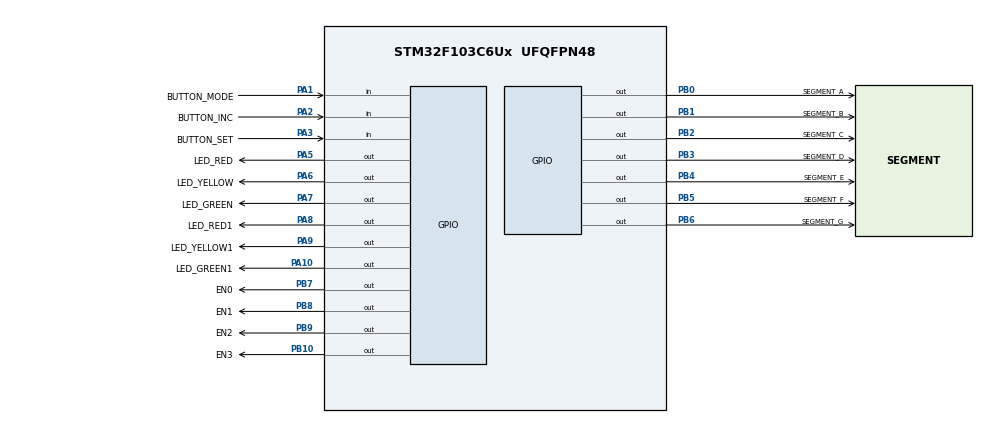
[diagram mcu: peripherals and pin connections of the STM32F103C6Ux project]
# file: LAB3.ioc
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Mcu.Family=STM32F1
Mcu.Name=STM32F103C6Ux
Mcu.Package=UFQFPN48
NVIC.PriorityGroup=NVIC_PRIORITYGROUP_4
NVIC.TIM2_IRQn=true\:0\:0\:false\:false\:true\:true\:true
PA1.GPIO_Label=BUTTON_MODE
PA1.Signal=GPIO_Input
PA10.GPIO_Label=LED_GREEN1
PA10.Signal=GPIO_Output
PA2.GPIO_Label=BUTTON_INC
PA2.Signal=GPIO_Input
PA3.GPIO_Label=BUTTON_SET
PA3.Signal=GPIO_Input
PA5.GPIO_Label=LED_RED
PA5.Signal=GPIO_Output
PA6.GPIO_Label=LED_YELLOW
PA6.Signal=GPIO_Output
PA7.GPIO_Label=LED_GREEN
PA7.Signal=GPIO_Output
PA8.GPIO_Label=LED_RED1
PA8.Signal=GPIO_Output
PA9.GPIO_Label=LED_YELLOW1
PA9.Signal=GPIO_Output
PB0.GPIO_Label=SEGMENT_A
PB0.Signal=GPIO_Output
PB1.GPIO_Label=SEGMENT_B
PB1.Signal=GPIO_Output
PB10.GPIO_Label=EN3
PB10.Signal=GPIO_Output
PB2.GPIO_Label=SEGMENT_C
PB2.Signal=GPIO_Output
PB3.GPIO_Label=SEGMENT_D
PB3.Signal=GPIO_Output
PB4.GPIO_Label=SEGMENT_E
PB4.Signal=GPIO_Output
PB5.GPIO_Label=SEGMENT_F
PB5.Signal=GPIO_Output
PB6.GPIO_Label=SEGMENT_G
PB6.Signal=GPIO_Output
PB7.GPIO_Label=EN0
PB7.Signal=GPIO_Output
PB8.GPIO_Label=EN1
PB8.Signal=GPIO_Output
PB9.GPIO_Label=EN2
PB9.Signal=GPIO_Output
ProjectManager.HeapSize=0x200
ProjectManager.StackSize=0x400
ProjectManager.TargetToolchain=STM32CubeIDE
RCC.APB1Freq_Value=8000000
RCC.APB2Freq_Value=8000000
TIM2.Period=99
TIM2.Prescaler=799
VP_SYS_VS_ND.Mode=No_Debug
VP_TIM2_VS_ClockSourceINT.Mode=Internal
board=custom

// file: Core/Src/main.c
/* USER CODE BEGIN Header */
/**
  ******************************************************************************
  * @file           : main.c
  * @brief          : Main program body
  ******************************************************************************
  * @attention
  *
  * <h2><center>&copy; Copyright (c) 2026 STMicroelectronics.
  * All rights reserved.</center></h2>
  *
  * This software component is licensed by ST under BSD 3-Clause license,
  * the "License"; You may not use this file except in compliance with the
  * License. You may obtain a copy of the License at:
  *                        opensource.org/licenses/BSD-3-Clause
  *
  ******************************************************************************
  */
/* USER CODE END Header */
#include "main.h"

/* USER CODE BEGIN Includes */
#include "input_reading.h"
#include "input_processing.h"
#include "led_display.h"
/* USER CODE END Includes */

/* USER CODE BEGIN PTD */
typedef enum
{
    BUTTON_RELEASED,
    BUTTON_PRESSED
} ButtonFSMState;
/* USER CODE END PTD */

/* USER CODE BEGIN PD */
// Timer interrupt period (ms)
#define TIMER_INTERRUPT_MS 10U

// LED blinking period: 500ms = 2Hz
#define LED_BLINK_PERIOD_MS 500U

// LED ON duration
#define LED_ON_MS 250U

// TIM2 Clock = 8MHz, Prescaler = 799
#define TIM2_TICKS_PER_MS 10U
/* USER CODE END PD */

TIM_HandleTypeDef htim2;

/* USER CODE BEGIN PV */
static volatile uint32_t elapsedMs = 0U;

/* USER CODE END PV */

void SystemClock_Config(void);
static void MX_GPIO_Init(void);
static void MX_TIM2_Init(void);

int main(void)
{

  /* MCU Configuration--------------------------------------------------------*/

  /* Reset of all peripherals, Initializes the Flash interface and the Systick. */
  HAL_Init();

  /* Configure the system clock */
  SystemClock_Config();

  /* Initialize all configured peripherals */
  MX_GPIO_Init();
  MX_TIM2_Init();
  /* USER CODE BEGIN 2 */

  // Turn off all 7-segment displays
  HAL_GPIO_WritePin(GPIOB,
                    EN0_Pin | EN1_Pin | EN2_Pin | EN3_Pin,
                    GPIO_PIN_SET);

  // Turn off all segments (Common Anode)
  HAL_GPIO_WritePin(GPIOB,
                    SEGMENT_A_Pin | SEGMENT_B_Pin |
                    SEGMENT_C_Pin | SEGMENT_D_Pin |
                    SEGMENT_E_Pin | SEGMENT_F_Pin |
                    SEGMENT_G_Pin,
                    GPIO_PIN_SET);

  // Reset elapsed time
  elapsedMs = 0U;

  // Configure TIM2 ARR
  __HAL_TIM_SET_AUTORELOAD(
      &htim2,
      TIMER_INTERRUPT_MS * TIM2_TICKS_PER_MS - 1U
  );

  // Reset TIM2 counter
  __HAL_TIM_SET_COUNTER(&htim2, 0U);

  // Clear pending interrupt flag
  __HAL_TIM_CLEAR_FLAG(&htim2, TIM_FLAG_UPDATE);

  // Start TIM2 interrupt
  if (HAL_TIM_Base_Start_IT(&htim2) != HAL_OK)
  {
      Error_Handler();
  }

  /* USER CODE END 2 */

  /* Infinite loop */
  /* USER CODE BEGIN WHILE */
  while (1)
  {
      // Process button FSM
      fsm_for_input_processing();

      uint8_t mode = get_current_mode();

      // Calculate blink state
      uint8_t blinkOn =
          (elapsedMs < LED_ON_MS) ? 1U : 0U;

      // Update traffic light FSM
      traffic_light_update(
          mode,
          blinkOn,
          get_active_red_duration(),
          get_active_yellow_duration(),
          get_active_green_duration()
      );

      // MODE 1: Display countdown for both roads
      if (mode == 1U)
      {
          sevenseg_scan_test(
              get_road1_remaining(),
              get_road2_remaining()
          );
      }
      else
      {
          uint8_t displayValue = 0U;

          // MODE 2: Red duration
          if (mode == 2U)
          {
              displayValue = get_red_editing();
          }

          // MODE 3: Yellow duration
          else if (mode == 3U)
          {
              displayValue = get_yellow_editing();
          }

          // MODE 4: Green duration
          else if (mode == 4U)
          {
              displayValue = get_green_editing();
          }

          sevenseg_scan_test(mode, displayValue);
      }

      __WFI();
  }
}

void SystemClock_Config(void)
{
  RCC_OscInitTypeDef RCC_OscInitStruct = {0};
  RCC_ClkInitTypeDef RCC_ClkInitStruct = {0};

  /** Initializes the RCC Oscillators according to the specified parameters
  * in the RCC_OscInitTypeDef structure.
  */
  RCC_OscInitStruct.OscillatorType = RCC_OSCILLATORTYPE_HSI;
  RCC_OscInitStruct.HSIState = RCC_HSI_ON;
  RCC_OscInitStruct.HSICalibrationValue = RCC_HSICALIBRATION_DEFAULT;
  RCC_OscInitStruct.PLL.PLLState = RCC_PLL_NONE;
  if (HAL_RCC_OscConfig(&RCC_OscInitStruct) != HAL_OK)
  {
    Error_Handler();
  }
  /** Initializes the CPU, AHB and APB buses clocks
  */
  RCC_ClkInitStruct.ClockType = RCC_CLOCKTYPE_HCLK|RCC_CLOCKTYPE_SYSCLK
                              |RCC_CLOCKTYPE_PCLK1|RCC_CLOCKTYPE_PCLK2;
  RCC_ClkInitStruct.SYSCLKSource = RCC_SYSCLKSOURCE_HSI;
  RCC_ClkInitStruct.AHBCLKDivider = RCC_SYSCLK_DIV1;
  RCC_ClkInitStruct.APB1CLKDivider = RCC_HCLK_DIV1;
  RCC_ClkInitStruct.APB2CLKDivider = RCC_HCLK_DIV1;

  if (HAL_RCC_ClockConfig(&RCC_ClkInitStruct, FLASH_LATENCY_0) != HAL_OK)
  {
    Error_Handler();
  }
}

static void MX_TIM2_Init(void)
{

  TIM_ClockConfigTypeDef sClockSourceConfig = {0};
  TIM_MasterConfigTypeDef sMasterConfig = {0};

  htim2.Instance = TIM2;
  htim2.Init.Prescaler = 799;
  htim2.Init.CounterMode = TIM_COUNTERMODE_UP;
  htim2.Init.Period = 99;
  htim2.Init.ClockDivision = TIM_CLOCKDIVISION_DIV1;
  htim2.Init.AutoReloadPreload = TIM_AUTORELOAD_PRELOAD_DISABLE;
  if (HAL_TIM_Base_Init(&htim2) != HAL_OK)
  {
    Error_Handler();
  }
  sClockSourceConfig.ClockSource = TIM_CLOCKSOURCE_INTERNAL;
  if (HAL_TIM_ConfigClockSource(&htim2, &sClockSourceConfig) != HAL_OK)
  {
    Error_Handler();
  }
  sMasterConfig.MasterOutputTrigger = TIM_TRGO_RESET;
  sMasterConfig.MasterSlaveMode = TIM_MASTERSLAVEMODE_DISABLE;
  if (HAL_TIMEx_MasterConfigSynchronization(&htim2, &sMasterConfig) != HAL_OK)
  {
    Error_Handler();
  }

}

static void MX_GPIO_Init(void)
{
  GPIO_InitTypeDef GPIO_InitStruct = {0};

  /* GPIO Ports Clock Enable */
  __HAL_RCC_GPIOA_CLK_ENABLE();
  __HAL_RCC_GPIOB_CLK_ENABLE();

  /*Configure GPIO pin Output Level */
  HAL_GPIO_WritePin(GPIOA, LED_RED_Pin|LED_YELLOW_Pin|LED_GREEN_Pin|LED_RED1_Pin
                          |LED_YELLOW1_Pin|LED_GREEN1_Pin, GPIO_PIN_RESET);

  /*Configure GPIO pin Output Level */
  HAL_GPIO_WritePin(GPIOB, SEGMENT_A_Pin|SEGMENT_B_Pin|SEGMENT_C_Pin|EN3_Pin
                          |SEGMENT_D_Pin|SEGMENT_E_Pin|SEGMENT_F_Pin|SEGMENT_G_Pin
                          |EN0_Pin|EN1_Pin|EN2_Pin, GPIO_PIN_RESET);

  /*Configure GPIO pins : BUTTON_MODE_Pin BUTTON_INC_Pin BUTTON_SET_Pin */
  GPIO_InitStruct.Pin = BUTTON_MODE_Pin|BUTTON_INC_Pin|BUTTON_SET_Pin;
  GPIO_InitStruct.Mode = GPIO_MODE_INPUT;
  GPIO_InitStruct.Pull = GPIO_NOPULL;
  HAL_GPIO_Init(GPIOA, &GPIO_InitStruct);

  /*Configure GPIO pins : LED_RED_Pin LED_YELLOW_Pin LED_GREEN_Pin LED_RED1_Pin
                           LED_YELLOW1_Pin LED_GREEN1_Pin */
  GPIO_InitStruct.Pin = LED_RED_Pin|LED_YELLOW_Pin|LED_GREEN_Pin|LED_RED1_Pin
                          |LED_YELLOW1_Pin|LED_GREEN1_Pin;
  GPIO_InitStruct.Mode = GPIO_MODE_OUTPUT_PP;
  GPIO_InitStruct.Pull = GPIO_NOPULL;
  GPIO_InitStruct.Speed = GPIO_SPEED_FREQ_LOW;
  HAL_GPIO_Init(GPIOA, &GPIO_InitStruct);

  /*Configure GPIO pins : SEGMENT_A_Pin SEGMENT_B_Pin SEGMENT_C_Pin EN3_Pin
                           SEGMENT_D_Pin SEGMENT_E_Pin SEGMENT_F_Pin SEGMENT_G_Pin
                           EN0_Pin EN1_Pin EN2_Pin */
  GPIO_InitStruct.Pin = SEGMENT_A_Pin|SEGMENT_B_Pin|SEGMENT_C_Pin|EN3_Pin
                          |SEGMENT_D_Pin|SEGMENT_E_Pin|SEGMENT_F_Pin|SEGMENT_G_Pin
                          |EN0_Pin|EN1_Pin|EN2_Pin;
  GPIO_InitStruct.Mode = GPIO_MODE_OUTPUT_PP;
  GPIO_InitStruct.Pull = GPIO_NOPULL;
  GPIO_InitStruct.Speed = GPIO_SPEED_FREQ_LOW;
  HAL_GPIO_Init(GPIOB, &GPIO_InitStruct);

}

/* USER CODE BEGIN 4 */

void HAL_TIM_PeriodElapsedCallback(TIM_HandleTypeDef *htim)
{
    if (htim->Instance == TIM2)
    {
        // Read and debounce buttons
        button_reading();

        // Accumulate elapsed time
        elapsedMs += TIMER_INTERRUPT_MS;

        // Reset after 500 ms
        if (elapsedMs >= LED_BLINK_PERIOD_MS)
        {
            elapsedMs -= LED_BLINK_PERIOD_MS;
        }
    }
}

/* USER CODE END 4 */

void Error_Handler(void)
{
  __disable_irq();
  while (1)
  {
  }
}

/************************ (C) COPYRIGHT STMicroelectronics *****END OF FILE****/
